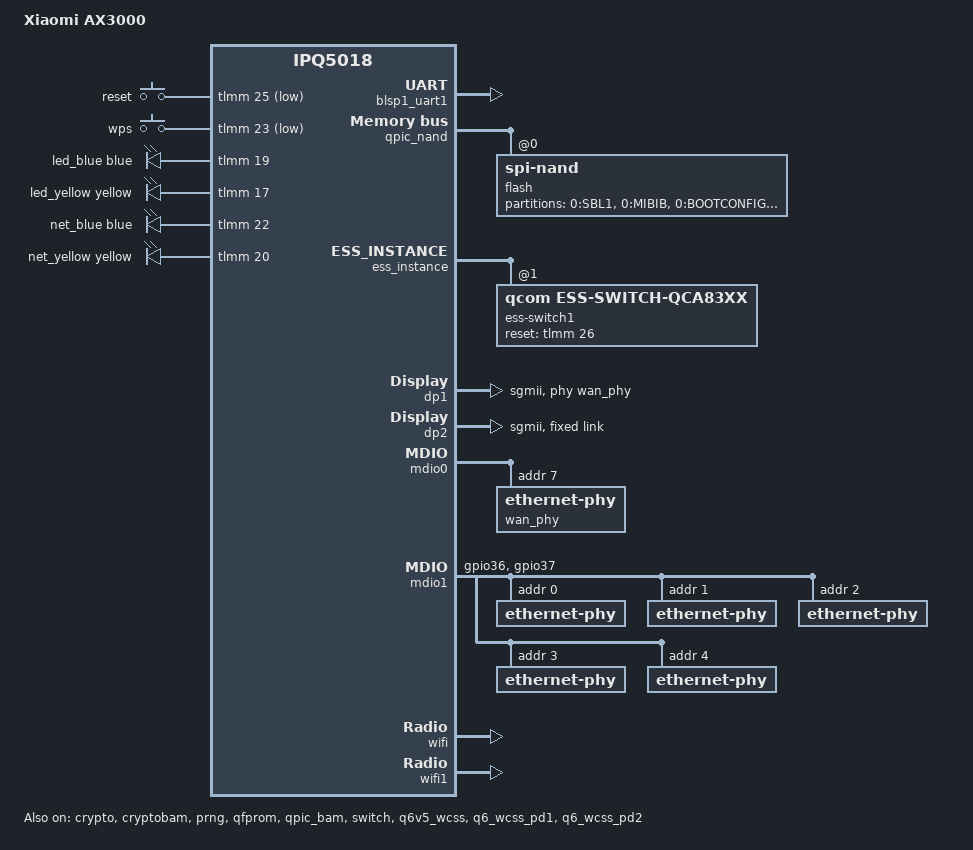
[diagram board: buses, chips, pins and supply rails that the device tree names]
/dts-v1/;

#include "ipq5018.dtsi"
#include "ipq5018-ess.dtsi"
#include "ipq5018-qcn6122.dtsi"

#include <dt-bindings/gpio/gpio.h>
#include <dt-bindings/input/input.h>
#include <dt-bindings/leds/common.h>

/ {
	model = "Xiaomi AX3000";
	compatible = "xiaomi,ax3000", "qcom,ipq5018";

	aliases {
		ethernet0 = &dp2;
		ethernet1 = &dp1;

		led-boot = &led_system_blue;
		led-failsafe = &led_system_yellow;
		led-running = &led_system_blue;
		led-upgrade = &led_system_yellow;

		serial0 = &blsp1_uart1;
	};

	chosen {
		bootargs-append = " console=ttyMSM0,115200n8 ubi.mtd=rootfs root=/dev/ubiblock0_1 coherent_pool=2M";
		stdout-path = "serial0:115200n8";
	};

	keys {
		compatible = "gpio-keys";
		pinctrl-0 = <&button_pins>;
		pinctrl-names = "default";

		reset {
			label = "reset";
			gpios = <&tlmm 25 GPIO_ACTIVE_LOW>;
			linux,code = <KEY_RESTART>;
			debounce-interval = <60>;
		};

		wps {
			label = "wps";
			gpios = <&tlmm 23 GPIO_ACTIVE_LOW>;
			linux,code = <KEY_WPS_BUTTON>;
			debounce-interval = <60>;
		};
	};

	leds {
		compatible = "gpio-leds";
		pinctrl-0 = <&leds_pins>;
		pinctrl-names = "default";

		led_system_blue: system-blue {
			label = "led_blue";
			color = <LED_COLOR_ID_BLUE>;
			function = LED_FUNCTION_POWER;
			gpios = <&tlmm 19 GPIO_ACTIVE_HIGH>;
			default-state = "off";
		};

		led_system_yellow: system-yellow {
			label = "led_yellow";
			color = <LED_COLOR_ID_YELLOW>;
			function = LED_FUNCTION_POWER;
			gpios = <&tlmm 17 GPIO_ACTIVE_HIGH>;
			default-state = "off";
		};

		led_net_blue: net-blue {
			label = "net_blue";
			color = <LED_COLOR_ID_BLUE>;
			function = LED_FUNCTION_WAN;
			gpios = <&tlmm 22 GPIO_ACTIVE_HIGH>;
			default-state = "off";
		};

		led_net_yellow: net-yellow {
			label = "net_yellow";
			color = <LED_COLOR_ID_YELLOW>;
			function = LED_FUNCTION_WAN;
			gpios = <&tlmm 20 GPIO_ACTIVE_HIGH>;
			default-state = "off";
		};
		/*
		led_phy: led-phy {
			color = <LED_COLOR_ID_YELLOW>;
			function = LED_FUNCTION_WAN;
			gpios = <&tlmm 30 GPIO_ACTIVE_HIGH>;
			default-state = "off";
		};
		*/
	};
};

&q6_region {
	reg = <0x00 0x4b000000 0x00 0x3400000>;
};

&{/thermal-zones} {
    status = "okay";
};

&sleep_clk {
	clock-frequency = <32000>;
};

&xo_board_clk {
	clock-div = <4>;
	clock-mult = <1>;
};

&blsp1_uart1 { status = "okay"; };
&crypto { status = "okay"; };
&cryptobam { status = "okay"; };
&prng { status = "okay"; };
&qfprom { status = "okay"; };
&qpic_bam { status = "okay"; };

&qpic_nand {
	status = "okay";

	flash@0 {
		compatible = "spi-nand";
		reg = <0>;
		#address-cells = <1>;
        #size-cells = <1>;
		nand-ecc-engine = <&qpic_nand>;
		nand-ecc-strength = <8>;
		nand-ecc-step-size = <512>;
		nand-bus-width = <0x08>;
		partitions {
			compatible = "fixed-partitions";
			#address-cells = <1>;
			#size-cells = <1>;

			partition@0 { label = "0:SBL1"; reg = <0x00000000 0x00080000>; read-only; };
			partition@80000 { label = "0:MIBIB"; reg = <0x00080000 0x00080000>; read-only; };
			partition@100000 { label = "0:BOOTCONFIG"; reg = <0x00100000 0x00040000>; read-only; };
			partition@140000 { label = "0:BOOTCONFIG1"; reg = <0x00140000 0x00040000>; read-only; };
			partition@180000 { label = "0:QSEE"; reg = <0x00180000 0x00100000>; read-only; };
			partition@280000 { label = "0:QSEE_1"; reg = <0x00280000 0x00100000>; read-only; };
			partition@380000 { label = "0:DEVCFG"; reg = <0x00380000 0x00040000>; read-only; };
			partition@3c0000 { label = "0:DEVCFG_1"; reg = <0x003c0000 0x00040000>; read-only; };
			partition@400000 { label = "0:CDT"; reg = <0x00400000 0x00040000>; read-only; };
			partition@440000 { label = "0:CDT_1"; reg = <0x00440000 0x00040000>; read-only; };
			partition@480000 { label = "0:APPSBLENV"; reg = <0x00480000 0x00080000>; };
			partition@500000 { label = "0:APPSBL"; reg = <0x00500000 0x00140000>; read-only; };
			partition@640000 { label = "0:APPSBL_1"; reg = <0x00640000 0x00140000>; read-only; };
			partition@780000 {
				label = "0:ART";
				reg = <0x00780000 0x00100000>;
				read-only;

				nvmem-layout {
					compatible = "fixed-layout";
					#address-cells = <1>;
					#size-cells = <1>;
					mac_addr_dp1: macaddr@0 { reg = <0x0 0x6>; };
					mac_addr_dp2: macaddr@6 { reg = <0x6 0x6>; };
					caldata_ipq5018: caldata@1000 { reg = <0x1000 0x20000>;};
					caldata_qcn6122: caldata@26800 { reg = <0x26800 0x20000>; };
				};
			};
			partition@880000 { label = "0:TRAINING"; reg = <0x00880000 0x00080000>; read-only; };
			partition@900000 { label = "bdata"; reg = <0x00900000 0x00080000>; };
			partition@980000 { label = "crash"; reg = <0x00980000 0x00080000>; };
			partition@a00000 { label = "crash_syslog"; reg = <0x00a00000 0x00080000>; };
			partition@a80000 { label = "rootfs"; reg = <0x00a80000 0x02400000>; };
			partition@2e80000 { label = "overlay"; reg = <0x02e80000 0x04300000>; };
		};
	};
};

&switch  {
	status = "okay";
	compatible = "qcom,ess-switch-ipq50xx";
	device_id = <0>;
	cmnblk_clk = "internal_96MHz";
	reg = <0x39c00000 0x200000>;
	switch_mac_mode = <0x0f>;
	switch_access_mode = "local bus";
	qcom,port_phyinfo {
		port@0 {
			port_id = <1>;
			mdiobus = <&mdio0>;
			phy_address = <7>;
			phy_dac = <0x10 0x10>;
		};
		port@1 {
			port_id = <2>;
			forced-speed = <1000>;
			forced-duplex = <1>;
		};
		/*
		led_source@0 {
			source = <0>;
			mode = "normal";
			speed = "all";
			blink_en = "enable";
			active = "low";
		};
		*/
	};
};

&ess_instance {
	status = "okay";
	num_devices = <2>;

	ess-switch1@1 {
		compatible = "qcom,ess-switch-qca83xx";
		device_id = <1>;
		switch_access_mode = "mdio";
		mdio-bus = <&mdio1>;
		reset_gpio = <&tlmm 26 GPIO_ACTIVE_HIGH>;
		switch_cpu_bmp = <0x60>;
		switch_acpu_bmp = <0x60>;
		switch_lan_bmp = <0x0e>;
		switch_wan_bmp = <0x10>;
		qca,ar8327-initvals = <0x04 0x7600000 0x08 0x1000000 0x0c 0x80 0x10 0x2613a0 0xe4 0xaa545 0xe0 0xc74164de 0x7c 0x4e 0x94 0x4e>;
		qcom,port_phyinfo {
			port@1 { port_id = <1>; phy_address = <0>; };
			port@2 { port_id = <2>; phy_address = <1>; };
			port@3 { port_id = <3>; phy_address = <2>; };
			port@4 { port_id = <4>; phy_address = <3>; };
			port@5 { port_id = <5>; phy_address = <4>; };
			port@6 {
				port_id = <6>;
				forced-speed = <1000>;
				forced-duplex = <1>;
			};
		};		
	};
};

&dp1 {
	status = "okay";
	device_type = "network";
	compatible = "qcom,nss-dp";
	clocks = <&gcc GCC_SNOC_GMAC0_AXI_CLK>;
	clock-names = "nss-snoc-gmac-axi-clk";
	qcom,id = <0x01>;
	reg = <0x39c00000 0x10000>;
	interrupts = <GIC_SPI 101 IRQ_TYPE_LEVEL_HIGH>;
	qcom,mactype = <0x02>;
	qcom,link-poll = <0x01>;
	qcom,phy-mdio-addr = <0x07>;
	nvmem-cells = <&mac_addr_dp1>;
	nvmem-cell-names = "mac-address";
	phy-handle = <&wan_phy>;
	phy-mode = "sgmii";
	mdio-bus = <&mdio0>;
};

&dp2 {
	status = "okay";
	device_type = "network";
	compatible = "qcom,nss-dp";
	clocks = <&gcc GCC_SNOC_GMAC1_AXI_CLK>;
	clock-names = "nss-snoc-gmac-axi-clk";
	qcom,id = <0x02>;
	reg = <0x39d00000 0x10000>;
	interrupts = <GIC_SPI 109 IRQ_TYPE_LEVEL_HIGH>;
	qcom,mactype = <0x02>;
	nvmem-cells = <&mac_addr_dp2>;
	nvmem-cell-names = "mac-address";
	phy-mode = "sgmii";
	fixed-link {
		speed = <1000>;
		full-duplex;
		pause;
	};
};

&ge_phy {
	qcom,dac-preset-short-cable;
};

&mdio0 {
	status = "okay";
	wan_phy: ethernet-phy@7 { reg = <0x07>; };		
};

&mdio1 {
	status = "okay";
	pinctrl-0 = <&mdio1_pins>;
	pinctrl-names = "default";
	phy-reset-gpio = <&tlmm 26 GPIO_ACTIVE_HIGH>;
	ethernet-phy@0 { reg = <0x0>; };
	ethernet-phy@1 { reg = <0x1>; };
	ethernet-phy@2 { reg = <0x2>; };
	ethernet-phy@3 { reg = <0x3>; };
	ethernet-phy@4 { reg = <0x4>; };
};

&tlmm {
	button_pins: button-pins {
		pins = "gpio25", "gpio23";
		function = "gpio";
		drive-strength = <8>;
		bias-pull-up;
	};

	leds_pins: leds-pins {
		led_blue {
			pins = "gpio19";
			function = "gpio";
			drive-strength = <8>;
			bias-pull-down;
		};

		led_yellow {
			pins = "gpio17";
			function = "gpio";
			drive-strength = <8>;
			bias-pull-down;
		};

		net_blue {
			pins = "gpio22";
			function = "gpio";
			drive-strength = <8>;
			bias-pull-down;
		};

		net_yellow {
			pins = "gpio20";
			function = "gpio";
			drive-strength = <8>;
			bias-pull-down;
		};
	};

	mdio1_pins: mdio-state {
		mdc-pins {
			pins = "gpio36";
			function = "mdc";
			drive-strength = <8>;
			bias-pull-up;
		};

		mdio-pins {
			pins = "gpio37";
			function = "mdio";
			drive-strength = <8>;
			bias-pull-up;
		};
	};
};

&q6v5_wcss {
	status = "okay";
	qcom,multipd_arch;
	qcom,share_bootargs;
	qcom,q6v6;
	qcom,bootargs_smem = <507>;
	 /* rec2: type=2, len=4, upd=2, reset-gpio=27 */
	boot-args = <2 4 2 27 0 0>; 
	memory-region = <&q6_region>;
};

&q6_wcss_pd1 {
	status = "okay";
};

&q6_wcss_pd2 {
	status = "okay";
};

&wifi {
	// IPQ5018
	status = "okay";
	qcom,multipd_arch;
	qcom,board_id = <0x10>;
	qcom,userpd = <1>;
	qcom,rproc = <&q6_wcss_pd1>;
	qcom,ath11k-fw-memory-mode = <2>;
	qcom,bdf-addr = <0x4c400000>;
	qcom,ath11k-calibration-variant = "Xiaomi-AX3000-2G";
};

&wifi1 {
	// QCN6102
	status = "okay";
	qcom,multipd_arch;
	qcom,board_id = <0x50>;
	qcom,userpd = <2>;
	qcom,rproc = <&q6_wcss_pd2>;
	qcom,userpd-subsys-name = "q6v5_wcss_userpd2";
	qcom,ath11k-fw-memory-mode = <2>;
	qcom,bdf-addr = <0x4d300000>;
	qcom,ath11k-calibration-variant = "Xiaomi-AX3000-5G";
};


